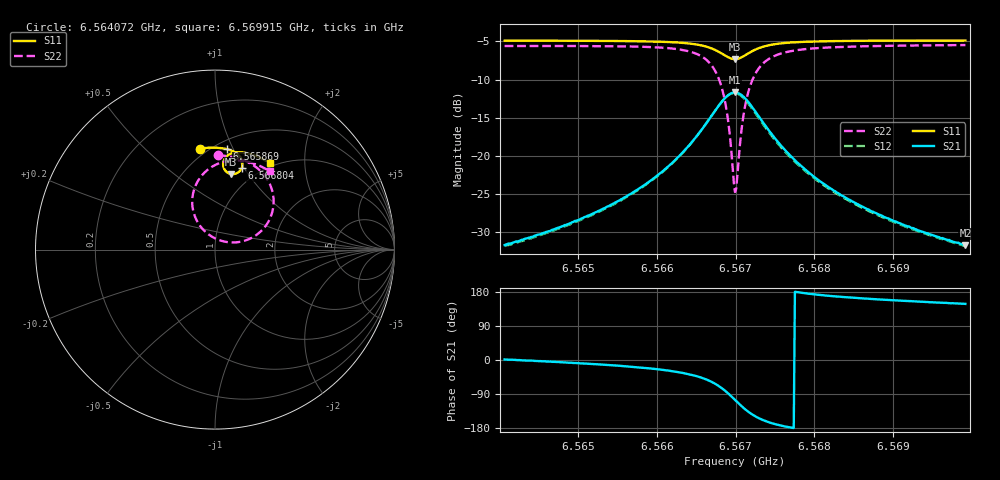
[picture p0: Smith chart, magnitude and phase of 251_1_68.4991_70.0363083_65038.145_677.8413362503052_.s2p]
#  HZ  S  RI  R  50.00
! Rohde & Schwarz Vector Network Analyzer
! Rohde-Schwarz,ZNB20-2Port,1311601062101988,3.16
! Created: UTC 3/20/2024, 4:59:50 PM
! freq[Hz]  re:S11  im:S11  re:S21  im:S21  re:S12  im:S12  re:S22  im:S22
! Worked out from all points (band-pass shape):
!   401 points, 6.564072 GHz to 6.569915 GHz, reference 50 ohm
!   highest |S21| = -11.68 dB at 6.566993 GHz (marker M1); lowest = -31.7 dB at 6.569915 GHz (marker M2)
!   |S21| within 3 dB of the highest: 6.566701 GHz to 6.567285 GHz (584.7 kHz wide, 0.0089 % of centre)
!   lowest |S11| = -7.3 dB at 6.566993 GHz (marker M3), VSWR 2.51, Z = 40.3 + j41.7 ohm
!   |S11| at or under -10 dB: nowhere
!   |S22| runs from -24.7 to -5.5 dB; largest |S21 - S12| = 0.012
!   S11 on the Smith chart (normalised r, x): 6.564072 GHz: 0.45, +0.75; 6.565869 GHz: 0.58, +0.95; 6.566804 GHz: 0.83, +0.97; 6.569915 GHz: 0.94, +1.35
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6.5640721e9  -0.0845 0.5628  0.026 0.000604  0.0256 0.000103  0.0142 0.5249
6.5650508e9  -0.0055 0.5679  0.0385 -0.00614  0.0378 -0.00658  0.1034 0.5148
6.5658688e9  0.068 0.559  0.0613 -0.0238  0.0603 -0.0247  0.2011 0.4774
6.5660294e9  0.0843 0.5542  0.0689 -0.0319  0.0678 -0.0326  0.2259 0.4613
6.5663362e9  0.118 0.5375  0.0876 -0.0599  0.0863 -0.061  0.2814 0.4058
6.5665553e9  0.1428 0.5122  0.1014 -0.1039  0.099 -0.1057  0.3206 0.3207
6.5667013e9  0.153 0.4816  0.0974 -0.1569  0.0936 -0.1597  0.3215 0.2193
6.5668036e9  0.1481 0.4527  0.0715 -0.2068  0.065 -0.2095  0.2773 0.1254
6.5668912e9  0.1279 0.4291  0.0201 -0.2453  0.0106 -0.246  0.1841 0.056
6.5669204e9  0.1177 0.4238  -0.00343 -0.253  -0.0138 -0.252  0.1414 0.0436
6.5669643e9  0.0999 0.4204  -0.0425 -0.2559  -0.0532 -0.2523  0.072 0.0412
6.5669935e9  0.0876 0.4217  -0.069 -0.2513  -0.0793 -0.2459  0.0259 0.0519
6.5670227e9  0.076 0.4256  -0.094 -0.2417  -0.1036 -0.2345  -0.0168 0.0718
6.5670811e9  0.0572 0.4404  -0.1346 -0.2103  -0.1413 -0.2006  -0.083 0.1319
6.5671249e9  0.0489 0.455  -0.1544 -0.1807  -0.1585 -0.1705  -0.1122 0.1858
6.5671834e9  0.0451 0.475  -0.1667 -0.1412  -0.168 -0.1317  -0.1268 0.2559
6.5672564e9  0.0492 0.4964  -0.1665 -0.0991  -0.1655 -0.0911  -0.1183 0.3288
6.5675193e9  0.0882 0.5348  -0.1249 -0.0217  -0.1222 -0.018  -0.0232 0.4575
6.5679721e9  0.1468 0.5423  -0.0742 0.00803  -0.0726 0.00912  0.0964 0.4966
6.5684103e9  0.1896 0.5344  -0.051 0.0131  -0.0498 0.0137  0.1654 0.4925
6.5689508e9  0.2343 0.519  -0.036 0.0142  -0.035 0.0146  0.2255 0.4761
6.5699148e9  0.304 0.4834  -0.0221 0.0138  -0.0217 0.0138  0.3055 0.4365
